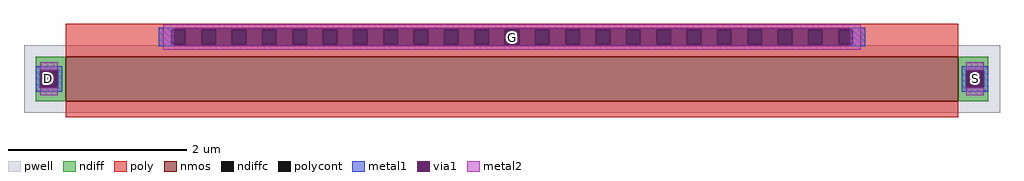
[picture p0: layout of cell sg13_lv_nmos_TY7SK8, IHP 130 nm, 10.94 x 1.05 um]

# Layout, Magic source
magic
tech ihp-sg13g2
magscale 1 2
<< pwell >>
rect -1094 -95 1094 57
<< nmos >>
rect -1000 -69 1000 31
<< ndiff >>
rect -1068 -3 -1000 31
rect -1068 -35 -1054 -3
rect -1022 -35 -1000 -3
rect -1068 -69 -1000 -35
rect 1000 -3 1068 31
rect 1000 -35 1022 -3
rect 1054 -35 1068 -3
rect 1000 -69 1068 -35
<< ndiffc >>
rect -1054 -35 -1022 -3
rect 1022 -35 1054 -3
<< poly >>
rect -1000 91 1000 105
rect -1000 59 -764 91
rect -732 59 -696 91
rect -664 59 -628 91
rect -596 59 -560 91
rect -528 59 -492 91
rect -460 59 -424 91
rect -392 59 -356 91
rect -324 59 -288 91
rect -256 59 -220 91
rect -188 59 -152 91
rect -120 59 -84 91
rect -52 59 -16 91
rect 16 59 52 91
rect 84 59 120 91
rect 152 59 188 91
rect 220 59 256 91
rect 288 59 324 91
rect 356 59 392 91
rect 424 59 460 91
rect 492 59 528 91
rect 560 59 596 91
rect 628 59 664 91
rect 696 59 732 91
rect 764 59 1000 91
rect -1000 31 1000 59
rect -1000 -105 1000 -69
<< polycont >>
rect -764 59 -732 91
rect -696 59 -664 91
rect -628 59 -596 91
rect -560 59 -528 91
rect -492 59 -460 91
rect -424 59 -392 91
rect -356 59 -324 91
rect -288 59 -256 91
rect -220 59 -188 91
rect -152 59 -120 91
rect -84 59 -52 91
rect -16 59 16 91
rect 52 59 84 91
rect 120 59 152 91
rect 188 59 220 91
rect 256 59 288 91
rect 324 59 356 91
rect 392 59 424 91
rect 460 59 492 91
rect 528 59 560 91
rect 596 59 628 91
rect 664 59 696 91
rect 732 59 764 91
<< metal1 >>
rect -792 95 792 96
rect -792 91 -758 95
rect 758 91 792 95
rect -792 59 -764 91
rect 764 59 792 91
rect -792 55 -758 59
rect 758 55 792 59
rect -792 54 792 55
rect -1068 1 -1008 10
rect -1068 -39 -1058 1
rect -1018 -39 -1008 1
rect -1068 -48 -1008 -39
rect 1008 1 1068 10
rect 1008 -39 1018 1
rect 1058 -39 1068 1
rect 1008 -48 1068 -39
<< via1 >>
rect -758 91 758 95
rect -758 59 -732 91
rect -732 59 -696 91
rect -696 59 -664 91
rect -664 59 -628 91
rect -628 59 -596 91
rect -596 59 -560 91
rect -560 59 -528 91
rect -528 59 -492 91
rect -492 59 -460 91
rect -460 59 -424 91
rect -424 59 -392 91
rect -392 59 -356 91
rect -356 59 -324 91
rect -324 59 -288 91
rect -288 59 -256 91
rect -256 59 -220 91
rect -220 59 -188 91
rect -188 59 -152 91
rect -152 59 -120 91
rect -120 59 -84 91
rect -84 59 -52 91
rect -52 59 -16 91
rect -16 59 16 91
rect 16 59 52 91
rect 52 59 84 91
rect 84 59 120 91
rect 120 59 152 91
rect 152 59 188 91
rect 188 59 220 91
rect 220 59 256 91
rect 256 59 288 91
rect 288 59 324 91
rect 324 59 356 91
rect 356 59 392 91
rect 392 59 424 91
rect 424 59 460 91
rect 460 59 492 91
rect 492 59 528 91
rect 528 59 560 91
rect 560 59 596 91
rect 596 59 628 91
rect 628 59 664 91
rect 664 59 696 91
rect 696 59 732 91
rect 732 59 758 91
rect -758 55 758 59
rect -1058 -3 -1018 1
rect -1058 -35 -1054 -3
rect -1054 -35 -1022 -3
rect -1022 -35 -1018 -3
rect -1058 -39 -1018 -35
rect 1018 -3 1058 1
rect 1018 -35 1022 -3
rect 1022 -35 1054 -3
rect 1054 -35 1058 -3
rect 1018 -39 1058 -35
<< metal2 >>
rect -782 95 782 104
rect -782 55 -758 95
rect 758 55 782 95
rect -782 46 782 55
rect -1058 1 -1018 18
rect -1058 -56 -1018 -39
rect 1018 1 1058 18
rect 1018 -56 1058 -39
<< labels >>
rlabel metal1 s -1038 -19 -1038 -19 4 D
rlabel metal1 s 1038 -19 1038 -19 4 S
rlabel metal1 s 0 75 0 75 4 G
<< end >>
